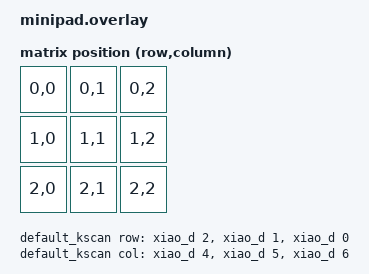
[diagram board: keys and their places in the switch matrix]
#include <dt-bindings/zmk/matrix_transform.h>

/ {
    chosen {
      zmk,kscan = &default_kscan;
    };

    default_kscan: kscan {
        compatible = "zmk,kscan-gpio-matrix";
        wakeup-source;
		diode-direction = "col2row";
        col-gpios
            = <&xiao_d 4 GPIO_ACTIVE_HIGH>
            , <&xiao_d 5 GPIO_ACTIVE_HIGH>
            , <&xiao_d 6 GPIO_ACTIVE_HIGH>
            ;
        row-gpios
            = <&xiao_d 2 (GPIO_ACTIVE_HIGH | GPIO_PULL_DOWN)>
            , <&xiao_d 1 (GPIO_ACTIVE_HIGH | GPIO_PULL_DOWN)>
            , <&xiao_d 0 (GPIO_ACTIVE_HIGH | GPIO_PULL_DOWN)>
            ;
    };

	default_transform: matrix-transform {
		compatible = "zmk,matrix-transform";
		columns = <3>; // Length of the "col-gpios" array
        rows = <3>; // Length of the "row-gpios" array
        map = <
            RC(0,0) RC(0,1) RC(0,2)
            RC(1,0) RC(1,1) RC(1,2)
            RC(2,0) RC(2,1) RC(2,2)
        >;
	};
};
